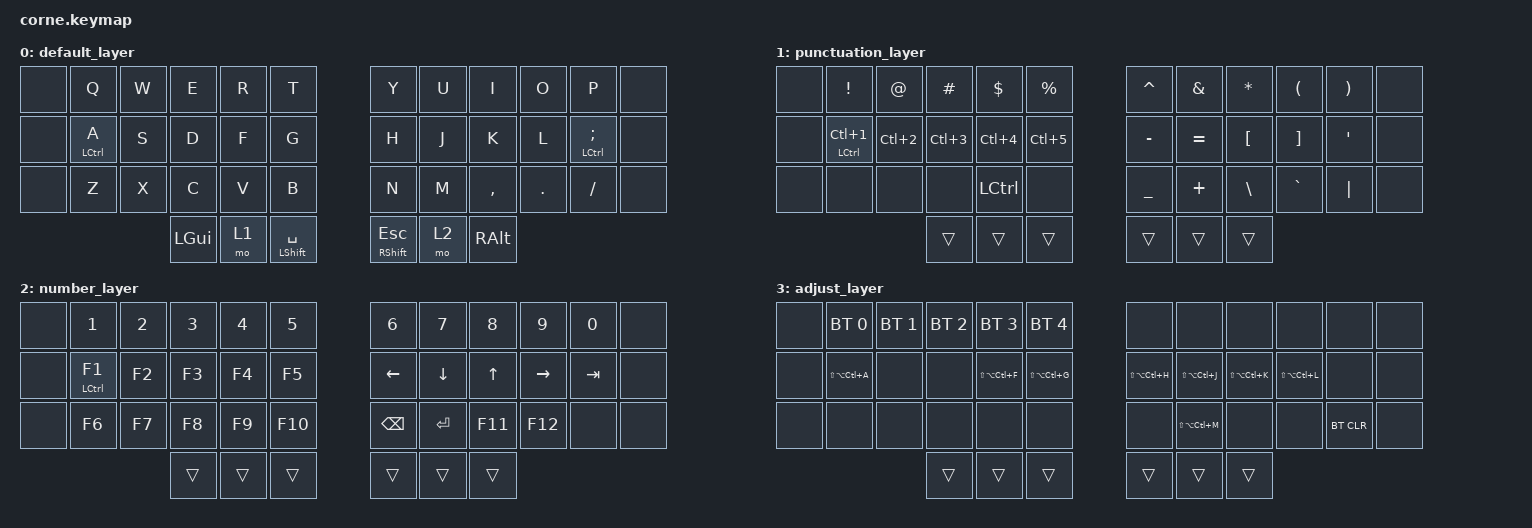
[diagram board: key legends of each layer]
/*
 * Copyright (c) 2020 The ZMK Contributors
 *
 * SPDX-License-Identifier: MIT
 */

#include <behaviors.dtsi>
#include <dt-bindings/zmk/keys.h>
#include <dt-bindings/zmk/bt.h>

/ {
  conditional_layers {
    compatible = "zmk,conditional-layers";
    tri_layer {
        if-layers = <1 2>;
        then-layer = <3>;
    };
  };

  behaviors {
    ssht: space_shift_hold_tap {
      compatible = "zmk,behavior-hold-tap";
      label = "DEFAULT_HOLD_TAP";
      #binding-cells = <2>;
      tapping-term-ms = <100>;
      bindings = <&kp>, <&kp>;
    };
    ht: hold_tap {
      compatible = "zmk,behavior-hold-tap";
      label = "DEFAULT_HOLD_TAP";
      #binding-cells = <2>;
      flavor = "balanced";
      tapping-term-ms = <200>;
      quick-tap-ms = <100>;
      bindings = <&kp>, <&kp>;
    };
  };

  keymap {
    compatible = "zmk,keymap";

    default_layer {
      bindings = <
        &none  &kp Q        &kp W  &kp E  &kp R  &kp T     &kp Y  &kp U  &kp I      &kp O    &kp P           &none
        &none  &ht LCTRL A  &kp S  &kp D  &kp F  &kp G     &kp H  &kp J  &kp K      &kp L    &ht LCTRL SEMI  &none
        &none  &kp Z        &kp X  &kp C  &kp V  &kp B     &kp N  &kp M  &kp COMMA  &kp DOT  &kp FSLH        &none
                 &kp LGUI   &mo 1   &ssht LSHIFT SPACE     &ssht RSHIFT ESC   &mo 2   &kp RALT
      >;
    };

    punctuation_layer {
      bindings = <
        &none  &kp EXCL          &kp AT      &kp HASH    &kp DOLLAR  &kp PERCENT     &kp CARET  &kp AMPERSAND  &kp ASTERISK  &kp LPAR   &kp RPAR  &none
        &none  &ht LCTRL LC(N1)  &kp LC(N2)  &kp LC(N3)  &kp LC(N4)  &kp LC(N5)      &kp MINUS  &kp EQUAL      &kp LBKT      &kp RBKT   &kp SQT   &none
        &none  &none             &none       &none       &kp LCTRL   &none           &kp UNDER  &kp PLUS       &kp BSLH      &kp GRAVE  &kp PIPE  &none
                                                          &trans  &trans  &trans     &trans  &trans  &trans
      >;
    };

    number_layer {
      bindings = <
        &none  &kp N1        &kp N2  &kp N3  &kp N4  &kp N5     &kp N6    &kp N7     &kp N8    &kp N9     &kp N0   &none
        &none  &ht LCTRL F1  &kp F2  &kp F3  &kp F4  &kp F5     &kp LEFT  &kp DOWN   &kp UP    &kp RIGHT  &kp TAB  &none
        &none  &kp F6        &kp F7  &kp F8  &kp F9  &kp F10    &kp BSPC  &kp ENTER  &kp F11   &kp F12    &none    &none
                                      &trans  &trans  &trans    &trans  &trans  &trans
      >;
    };

    adjust_layer {
      bindings = <
        &none  &bt BT_SEL 0       &bt BT_SEL 1  &bt BT_SEL 2  &bt BT_SEL 3       &bt BT_SEL 4         &none              &none              &none             &none              &none      &none
        &none  &kp LS(LA(LC(A)))  &none         &none         &kp LS(LA(LC(F)))  &kp LS(LA(LC(G)))    &kp LS(LA(LC(H)))  &kp LS(LA(LC(J)))  &kp LS(LA(LC(K))) &kp LS(LA(LC(L)))  &none      &none
        &none  &none              &none         &none         &none              &none                &none              &kp LS(LA(LC(M)))  &none             &none              &bt BT_CLR &none
                                                                            &trans  &trans  &trans    &trans  &trans  &trans
      >;
    };
  };
};
